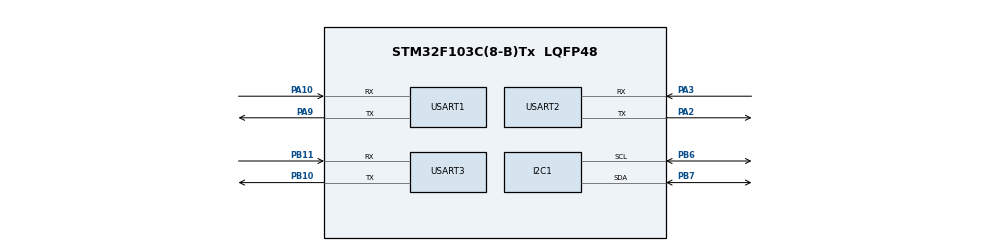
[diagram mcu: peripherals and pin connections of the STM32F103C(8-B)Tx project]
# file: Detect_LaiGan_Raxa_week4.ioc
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Mcu.Family=STM32F1
Mcu.Name=STM32F103C(8-B)Tx
Mcu.Package=LQFP48
NVIC.PriorityGroup=NVIC_PRIORITYGROUP_4
NVIC.USART1_IRQn=true\:0\:0\:false\:false\:true\:true\:true\:true
PA10.Mode=Asynchronous
PA10.Signal=USART1_RX
PA13.Mode=Serial_Wire
PA13.Signal=SYS_JTMS-SWDIO
PA14.Mode=Serial_Wire
PA14.Signal=SYS_JTCK-SWCLK
PA2.Mode=Asynchronous
PA2.Signal=USART2_TX
PA3.Mode=Asynchronous
PA3.Signal=USART2_RX
PA9.Mode=Asynchronous
PA9.Signal=USART1_TX
PB10.Mode=Asynchronous
PB10.Signal=USART3_TX
PB11.Mode=Asynchronous
PB11.Signal=USART3_RX
PB6.Mode=I2C
PB6.Signal=I2C1_SCL
PB7.Mode=I2C
PB7.Signal=I2C1_SDA
ProjectManager.HeapSize=0x200
ProjectManager.StackSize=0x400
ProjectManager.TargetToolchain=CMake
RCC.APB1Freq_Value=8000000
RCC.APB2Freq_Value=8000000
USART1.VirtualMode=VM_ASYNC
USART2.VirtualMode=VM_ASYNC
USART3.VirtualMode=VM_ASYNC
board=custom

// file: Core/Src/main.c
/* USER CODE BEGIN Header */
/**
  ******************************************************************************
  * @file           : main.c
  * @brief          : Main program body
  ******************************************************************************
  * @attention
  *
  * Copyright (c) 2026 STMicroelectronics.
  * All rights reserved.
  *
  * This software is licensed under terms that can be found in the LICENSE file
  * in the root directory of this software component.
  * If no LICENSE file comes with this software, it is provided AS-IS.
  *
  ******************************************************************************
  */
/* USER CODE END Header */
#include "main.h"
#include <stdio.h>
#include "string.h"
#include "lcd_i2c.c"

I2C_HandleTypeDef hi2c1;

UART_HandleTypeDef huart1;
UART_HandleTypeDef huart2;
UART_HandleTypeDef huart3;

void SystemClock_Config(void);
static void MX_GPIO_Init(void);
static void MX_USART1_UART_Init(void);
static void MX_USART2_UART_Init(void);
static void MX_USART3_UART_Init(void);
static void MX_I2C1_Init(void);

/* USER CODE BEGIN 0 */

void displayOutput_UART2()
{
  char msg2[] = "UART2 OK\r\n";

  HAL_UART_Transmit(&huart2,
                      (uint8_t *)msg2,
                      sizeof(msg2) - 1,
                      1000);
    HAL_Delay(1000);
}
void displayOutput_UART1()
{
  char msg2[] = "UART1 OK\r\n";

  HAL_UART_Transmit(&huart1,
                      (uint8_t *)msg2,
                      sizeof(msg2) - 1,
                      1000);
    HAL_Delay(1000);
}
//init velocity
static uint8_t  rx_byte;            /* single byte received by IT */
static uint8_t  frame[9];
static uint8_t  idx = 0;

static volatile uint8_t  data_ready = 0;
static volatile uint16_t lidar_dist = 0;   /* cm */
static volatile uint16_t lidar_str  = 0;
static volatile float    lidar_temp = 0;   /* deg C */

volatile uint32_t rx_count = 0;
volatile uint32_t err_count = 0;
volatile uint32_t frame_ok = 0;
volatile uint32_t frame_bad = 0;
uint8_t last[9];

static uint16_t previousDistance = 0;
static uint32_t previousTime = 0;
static uint8_t firstRun = 1;

#define MIN_STRENGTH 100
//init velocity
static void tfmini_feed(uint8_t b)
{
    /* sync on two 0x59 header bytes */
    if (idx == 0 && b != 0x59) return;
    if (idx == 1 && b != 0x59) { idx = 0; return; }

    frame[idx++] = b;

    if (idx == 9) {
        idx = 0;
        uint8_t sum = 0;
        for (int i = 0; i < 8; i++) sum += frame[i];

        if (sum == frame[8]) {
            lidar_dist = frame[2] | (frame[3] << 8);
            lidar_str  = frame[4] | (frame[5] << 8);
            lidar_temp = (frame[6] | (frame[7] << 8)) / 8.0f - 256.0f;
            data_ready = 1;
        }
    }
}
void HAL_UART_RxCpltCallback(UART_HandleTypeDef *huart)
{
    if (huart->Instance == USART1) {
        rx_count++;
        tfmini_feed(rx_byte);
        HAL_UART_Receive_IT(&huart1, &rx_byte, 1);
    }
}

void HAL_UART_ErrorCallback(UART_HandleTypeDef *huart)
{
    if (huart->Instance == USART1) {
        err_count++;
        __HAL_UART_CLEAR_OREFLAG(huart);
        __HAL_UART_CLEAR_FEFLAG(huart);
        __HAL_UART_CLEAR_NEFLAG(huart);
        HAL_UART_Receive_IT(&huart1, &rx_byte, 1);
    }
}

double calculateVelocity_laiGan_raXa_vatTheDungyen_khongPhatHienVatThe(uint16_t distance,uint16_t strength)
{
    uint32_t currentTime = HAL_GetTick();

    if (firstRun)
    {
        previousDistance = distance;
        previousTime = currentTime;
        firstRun = 0;
        return 0.0f;
    }

    uint32_t deltaTime = currentTime - previousTime;

    if (deltaTime == 0)
        return 0.0f;
    uint16_t velocity=0;
    if (strength < MIN_STRENGTH  || distance == 0)
    {
        //logging for debuging the calculate
        char velocityMsg[200];
        int len =snprintf(velocityMsg, sizeof(velocityMsg),
                               "=== KO THẤY vật thể nào chuyển động !!! ===\r\n");

        HAL_UART_Transmit(&huart2,
                                  (uint8_t *)velocityMsg,
                                  len,
                                  1000);
        //output lcd i2c
        //LCD_SendString("0 cm/s");
        char msg[40];
        int len3 = sprintf(msg, "0 cm/s \n");
        HAL_UART_Transmit(&huart3, (uint8_t*)msg, len3, 100);
        //HAL_Delay(200);
        //reset previousTime in this case:
        previousTime = currentTime;
        return 0.0f;
    }
    if(distance == previousDistance)
    {
      //logging for debuging the calculate
        char velocityMsg[200];
        int len =snprintf(velocityMsg, sizeof(velocityMsg),
                               "At calculateVelocity previousDistance: == currentDistance:  %.1d , detalTime: %lu  \r\n === calculated_velocity: 0 cm.s === phát hiện Vật thể ĐỨNG YÊN ở khoảng cách %.1d !!! ===\r\n",
                               distance,deltaTime,distance);

        HAL_UART_Transmit(&huart2,
                                  (uint8_t *)velocityMsg,
                                  len,
                                  1000);

        //output lcd  i2c
        //LCD_SendString("0 cm/s");
        char msg[40];
        int len3 = sprintf(msg, "0 cm/s \n");
        HAL_UART_Transmit(&huart3, (uint8_t*)msg, len3, 100);
        //HAL_Delay(200);
        //reset previousTime in this case:
        previousTime = currentTime;
        return 0.0f;
    }
    if(distance < previousDistance)
    {
         int32_t  deltaDistance =
        (int32_t )distance - (int32_t )previousDistance;

        int32_t convertedPositiveDeltaDistance=(-1)*deltaDistance;
      // mm/ms = m/s
        velocity = ((float)( convertedPositiveDeltaDistance * 1000)) / (float)deltaTime;

        uint16_t  oldPreviousDistance=previousDistance;
        previousDistance = distance;
        previousTime = currentTime;

        //logging for debuging the calculate
        char velocityMsg[200];
        int len =snprintf(velocityMsg, sizeof(velocityMsg),
                               "At calculateVelocity previousDistance: %.1d , currentDistance:  %.1d , deltaDistance: %ld   / detalTime: %lu  \r\n === calculated_velocity: -%.1d cm/s === Vật thể LẠI GẦN !!! ===\r\n",
                               oldPreviousDistance,distance,deltaDistance,deltaTime,velocity);

        HAL_UART_Transmit(&huart2,
                                  (uint8_t *)velocityMsg,
                                  len,
                                  1000);

        //output lcd i2c
        //char buffer[20];
        //snprintf(buffer, sizeof(buffer), "-%.1d", velocity);
        //LCD_SendString(buffer);
        char msg[40];
        int len3 = sprintf(msg, "-%.1d cm/s \n", velocity);
        HAL_UART_Transmit(&huart3, (uint8_t*)msg, len3, 100);
        //HAL_Delay(200);

        return velocity;
    }
    else
    {
        //uint16_t k thể thực hiện phép toán ra kết quả âm nên ta dùng int32_t
        uint16_t  deltaDistance =
        (int32_t )distance - (int32_t )previousDistance;

    // mm/ms = m/s
        velocity = ((float)( deltaDistance * 1000)) / (float)deltaTime;

        uint16_t  oldPreviousDistance=previousDistance;
        previousDistance = distance;
        previousTime = currentTime;

        //logging for debuging the calculate
        char velocityMsg[200];
        int len =snprintf(velocityMsg, sizeof(velocityMsg),
                                  "At calculateVelocity previousDistance: %.1d , currentDistance:  %.1d , deltaDistance: %.1d / detalTime: %lu  \r\n === calculated_velocity: +%.1d cm/s === Vật thể RA XA !!! === \r\n",
                                  oldPreviousDistance,distance,deltaDistance,deltaTime,velocity);

        HAL_UART_Transmit(&huart2,(uint8_t *)velocityMsg,
                                      len,
                                      1000);
        //output lcd i2c
        //char buffer[20];
        //snprintf(buffer, sizeof(buffer), "+%.1d", velocity);
        //LCD_SendString(buffer);
        char msg[40];
        int len3 = sprintf(msg, "+%.1d cm/s \n", velocity);
        HAL_UART_Transmit(&huart3, (uint8_t*)msg, len3, 100);
        //HAL_Delay(200);

        return velocity;
    }
    //ending logging for debugging the calculate

}
/* ---------- USER CODE BEGIN 0 ---------- */

/* USER CODE END 0 */

int main(void)
{

  /* MCU Configuration--------------------------------------------------------*/

  /* Reset of all peripherals, Initializes the Flash interface and the Systick. */
  HAL_Init();

  /* Configure the system clock */
  SystemClock_Config();

  /* Initialize all configured peripherals */
  MX_GPIO_Init();
  MX_USART1_UART_Init();
  MX_USART2_UART_Init();
  MX_USART3_UART_Init();
  MX_I2C1_Init();
  /* USER CODE BEGIN 2 */
  HAL_UART_Receive_IT(&huart1, &rx_byte, 1);
  char msg[100];
  LCD_Init(&hi2c1);// khoi tao lcd i2c
  /*HAL_StatusTypeDef status_27;
  HAL_StatusTypeDef status_3F;

  status_27 = HAL_I2C_IsDeviceReady(
      &hi2c1, 0x4E, 3, 100
  );

  status_3F = HAL_I2C_IsDeviceReady(
      &hi2c1, 0x7E, 3, 100
  );*/
  //LCD_SendString("testing");//testing
  /* USER CODE END 2 */

  /* Infinite loop */
  while (1)
  {

    /* USER CODE BEGIN 3 */
    //HAL_GPIO_TogglePin(GPIOC, GPIO_PIN_13);//test code
    //displayOutput_UART1();//test uẩrt1
    //displayOutput_UART2();//test uẩrt2
    //displayOutput_UART3();//test uẩrt3

    /*int n = snprintf(m, sizeof(m), "rx=%lu err=%lu ok=%lu bad=%lu\r\n",
                     rx_count, err_count, frame_ok, frame_bad);
    HAL_UART_Transmit(&huart2, (uint8_t*)m, n, 100);
    HAL_Delay(1000);*/

    if (data_ready) {
            data_ready = 0;
            int len = snprintf(msg, sizeof(msg),
                               "Dist: %u cm | Str: %u | Temp: %.1f C\r\n",
                               lidar_dist, lidar_str, lidar_temp);
            HAL_UART_Transmit(&huart2, (uint8_t *)msg, len, 100);

            uint16_t simple_velocity=calculateVelocity_laiGan_raXa_vatTheDungyen_khongPhatHienVatThe(lidar_dist,lidar_str);

    }
    else
    {
      sprintf(msg,"no new data from lidar yet \r\n");
      HAL_UART_Transmit(&huart2,
                              (uint8_t*)msg,
                              strlen(msg),
                              HAL_MAX_DELAY);
    }

    HAL_Delay(840);
  }
  /* USER CODE END 3 */
}

void SystemClock_Config(void)
{
  RCC_OscInitTypeDef RCC_OscInitStruct = {0};
  RCC_ClkInitTypeDef RCC_ClkInitStruct = {0};

  /** Initializes the RCC Oscillators according to the specified parameters
  * in the RCC_OscInitTypeDef structure.
  */
  RCC_OscInitStruct.OscillatorType = RCC_OSCILLATORTYPE_HSI;
  RCC_OscInitStruct.HSIState = RCC_HSI_ON;
  RCC_OscInitStruct.HSICalibrationValue = RCC_HSICALIBRATION_DEFAULT;
  RCC_OscInitStruct.PLL.PLLState = RCC_PLL_NONE;
  if (HAL_RCC_OscConfig(&RCC_OscInitStruct) != HAL_OK)
  {
    Error_Handler();
  }

  /** Initializes the CPU, AHB and APB buses clocks
  */
  RCC_ClkInitStruct.ClockType = RCC_CLOCKTYPE_HCLK|RCC_CLOCKTYPE_SYSCLK
                              |RCC_CLOCKTYPE_PCLK1|RCC_CLOCKTYPE_PCLK2;
  RCC_ClkInitStruct.SYSCLKSource = RCC_SYSCLKSOURCE_HSI;
  RCC_ClkInitStruct.AHBCLKDivider = RCC_SYSCLK_DIV1;
  RCC_ClkInitStruct.APB1CLKDivider = RCC_HCLK_DIV1;
  RCC_ClkInitStruct.APB2CLKDivider = RCC_HCLK_DIV1;

  if (HAL_RCC_ClockConfig(&RCC_ClkInitStruct, FLASH_LATENCY_0) != HAL_OK)
  {
    Error_Handler();
  }
}

static void MX_I2C1_Init(void)
{

  hi2c1.Instance = I2C1;
  hi2c1.Init.ClockSpeed = 100000;
  hi2c1.Init.DutyCycle = I2C_DUTYCYCLE_2;
  hi2c1.Init.OwnAddress1 = 0;
  hi2c1.Init.AddressingMode = I2C_ADDRESSINGMODE_7BIT;
  hi2c1.Init.DualAddressMode = I2C_DUALADDRESS_DISABLE;
  hi2c1.Init.OwnAddress2 = 0;
  hi2c1.Init.GeneralCallMode = I2C_GENERALCALL_DISABLE;
  hi2c1.Init.NoStretchMode = I2C_NOSTRETCH_DISABLE;
  if (HAL_I2C_Init(&hi2c1) != HAL_OK)
  {
    Error_Handler();
  }

}

static void MX_USART1_UART_Init(void)
{

  huart1.Instance = USART1;
  huart1.Init.BaudRate = 115200;
  huart1.Init.WordLength = UART_WORDLENGTH_8B;
  huart1.Init.StopBits = UART_STOPBITS_1;
  huart1.Init.Parity = UART_PARITY_NONE;
  huart1.Init.Mode = UART_MODE_TX_RX;
  huart1.Init.HwFlowCtl = UART_HWCONTROL_NONE;
  huart1.Init.OverSampling = UART_OVERSAMPLING_16;
  if (HAL_UART_Init(&huart1) != HAL_OK)
  {
    Error_Handler();
  }

}

static void MX_USART2_UART_Init(void)
{

  huart2.Instance = USART2;
  huart2.Init.BaudRate = 115200;
  huart2.Init.WordLength = UART_WORDLENGTH_8B;
  huart2.Init.StopBits = UART_STOPBITS_1;
  huart2.Init.Parity = UART_PARITY_NONE;
  huart2.Init.Mode = UART_MODE_TX_RX;
  huart2.Init.HwFlowCtl = UART_HWCONTROL_NONE;
  huart2.Init.OverSampling = UART_OVERSAMPLING_16;
  if (HAL_UART_Init(&huart2) != HAL_OK)
  {
    Error_Handler();
  }

}

static void MX_USART3_UART_Init(void)
{

  huart3.Instance = USART3;
  huart3.Init.BaudRate = 115200;
  huart3.Init.WordLength = UART_WORDLENGTH_8B;
  huart3.Init.StopBits = UART_STOPBITS_1;
  huart3.Init.Parity = UART_PARITY_NONE;
  huart3.Init.Mode = UART_MODE_TX_RX;
  huart3.Init.HwFlowCtl = UART_HWCONTROL_NONE;
  huart3.Init.OverSampling = UART_OVERSAMPLING_16;
  if (HAL_UART_Init(&huart3) != HAL_OK)
  {
    Error_Handler();
  }

}

static void MX_GPIO_Init(void)
{
  /* USER CODE BEGIN MX_GPIO_Init_1 */
  GPIO_InitTypeDef GPIO_InitStruct = {0};

    /* GPIO Ports Clock Enable */
    __HAL_RCC_GPIOA_CLK_ENABLE();
    __HAL_RCC_GPIOC_CLK_ENABLE();

    /* Configure PC13 as Output */
    HAL_GPIO_WritePin(GPIOC, GPIO_PIN_13, GPIO_PIN_SET);

    GPIO_InitStruct.Pin = GPIO_PIN_13;
    GPIO_InitStruct.Mode = GPIO_MODE_OUTPUT_PP;
    GPIO_InitStruct.Pull = GPIO_NOPULL;
    GPIO_InitStruct.Speed = GPIO_SPEED_FREQ_LOW;

    HAL_GPIO_Init(GPIOC, &GPIO_InitStruct);
  /* USER CODE END MX_GPIO_Init_1 */

  /* GPIO Ports Clock Enable */
  __HAL_RCC_GPIOA_CLK_ENABLE();
  __HAL_RCC_GPIOB_CLK_ENABLE();

}

void Error_Handler(void)
{
  __disable_irq();
  while (1)
  {
  }
}
